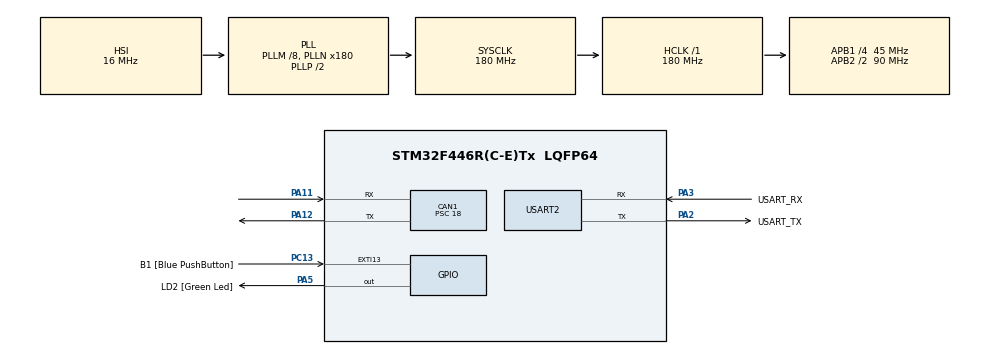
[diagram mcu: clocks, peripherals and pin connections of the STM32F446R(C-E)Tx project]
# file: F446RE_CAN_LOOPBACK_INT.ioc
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CAN1.BS1=CAN_BS1_2TQ
CAN1.BS2=CAN_BS2_2TQ
CAN1.CalculateBaudRate=500000
CAN1.CalculateTimeBit=2000
CAN1.CalculateTimeQuantum=400.0
CAN1.Mode=CAN_MODE_LOOPBACK
CAN1.Prescaler=18
Mcu.Family=STM32F4
Mcu.Name=STM32F446R(C-E)Tx
Mcu.Package=LQFP64
NVIC.CAN1_RX0_IRQn=true\:0\:0\:false\:false\:true\:true\:true\:true
NVIC.EXTI15_10_IRQn=true\:0\:0\:false\:false\:true\:true\:true\:true
NVIC.PriorityGroup=NVIC_PRIORITYGROUP_0
PA11.Mode=CAN_Activate
PA11.Signal=CAN1_RX
PA12.Mode=CAN_Activate
PA12.Signal=CAN1_TX
PA13.GPIO_Label=TMS
PA13.Mode=Serial_Wire
PA13.Signal=SYS_JTMS-SWDIO
PA14.GPIO_Label=TCK
PA14.Mode=Serial_Wire
PA14.Signal=SYS_JTCK-SWCLK
PA2.GPIO_Label=USART_TX
PA2.Mode=Asynchronous
PA2.Signal=USART2_TX
PA3.GPIO_Label=USART_RX
PA3.Mode=Asynchronous
PA3.Signal=USART2_RX
PA5.GPIO_Label=LD2 [Green Led]
PA5.Signal=GPIO_Output
PB3.GPIO_Label=SWO
PB3.Signal=SYS_JTDO-SWO
PC13.GPIO_Label=B1 [Blue PushButton]
PC13.GPIO_ModeDefaultEXTI=GPIO_MODE_IT_FALLING
PC13.Signal=GPXTI13
PC14-OSC32_IN.Mode=LSE-External-Oscillator
PC14-OSC32_IN.Signal=RCC_OSC32_IN
PC15-OSC32_OUT.Mode=LSE-External-Oscillator
PC15-OSC32_OUT.Signal=RCC_OSC32_OUT
PH0-OSC_IN.Mode=HSE-External-Oscillator
PH0-OSC_IN.Signal=RCC_OSC_IN
PH1-OSC_OUT.Mode=HSE-External-Oscillator
PH1-OSC_OUT.Signal=RCC_OSC_OUT
ProjectManager.HeapSize=0x200
ProjectManager.StackSize=0x400
ProjectManager.TargetToolchain=STM32CubeIDE
RCC.48MHZClocksFreq_Value=84000000
RCC.AHBFreq_Value=180000000
RCC.APB1CLKDivider=RCC_HCLK_DIV4
RCC.APB1Freq_Value=45000000
RCC.APB1TimFreq_Value=90000000
RCC.APB2CLKDivider=RCC_HCLK_DIV2
RCC.APB2Freq_Value=90000000
RCC.APB2TimFreq_Value=180000000
RCC.CortexFreq_Value=180000000
RCC.FLatency-AdvancedSettings=FLASH_LATENCY_5
RCC.HCLKFreq_Value=180000000
RCC.HSE_VALUE=8000000
RCC.HSI_VALUE=16000000
RCC.PLLM=8
RCC.PLLN=180
RCC.SYSCLKFreq_VALUE=180000000
RCC.SYSCLKSource=RCC_SYSCLKSOURCE_PLLCLK
RCC.USBFreq_Value=180000000
RCC.VCOOutputFreq_Value=360000000
USART2.VirtualMode=VM_ASYNC
board=NUCLEO-F446RE

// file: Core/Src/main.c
/* USER CODE BEGIN Header */
/**
  ******************************************************************************
  * @file           : main.c
  * @brief          : Main program body
  ******************************************************************************
  * @attention
  *
  * Copyright (c) 2024 STMicroelectronics.
  * All rights reserved.
  *
  * This software is licensed under terms that can be found in the LICENSE file
  * in the root directory of this software component.
  * If no LICENSE file comes with this software, it is provided AS-IS.
  *
  ******************************************************************************
  */
/* USER CODE END Header */
#include "main.h"

/* USER CODE BEGIN Includes */
#include <stdio.h>
#include <string.h>

/* USER CODE END Includes */

CAN_HandleTypeDef hcan1;

UART_HandleTypeDef huart2;

/* USER CODE BEGIN PV */
CAN_TxHeaderTypeDef TxHeader;
CAN_RxHeaderTypeDef RxHeader;

uint8_t TxData[8];
uint8_t RxData[8];

uint32_t TxMailbox;

/* USER CODE END PV */

void SystemClock_Config(void);
static void MX_GPIO_Init(void);
static void MX_USART2_UART_Init(void);
static void MX_CAN1_Init(void);

/* USER CODE BEGIN 0 */

void HAL_CAN_TxMailbox0CompleteCallback(CAN_HandleTypeDef *hcan)
{

}

void HAL_CAN_RxFifo0MsgPendingCallback(CAN_HandleTypeDef *hcan)
{

}

void HAL_CAN_TxMailbox0AbortCallback(CAN_HandleTypeDef *hcan)
{
  /* Prevent unused argument(s) compilation warning */
  UNUSED(hcan);

  /* NOTE : This function Should not be modified, when the callback is needed,
            the HAL_CAN_TxMailbox0AbortCallback could be implemented in the
            user file
   */
}
/* USER CODE END 0 */

int main(void)
{

  /* MCU Configuration--------------------------------------------------------*/

  /* Reset of all peripherals, Initializes the Flash interface and the Systick. */
  HAL_Init();

  /* Configure the system clock */
  SystemClock_Config();

  /* Initialize all configured peripherals */
  MX_GPIO_Init();
  MX_USART2_UART_Init();
  MX_CAN1_Init();
  /* USER CODE BEGIN 2 */
  HAL_CAN_Start(&hcan1);

  //HAL_CAN_ActivateNotification(&hcan1, CAN_IT_RX_FIFO0_MSG_PENDING);
  /* USER CODE END 2 */

  /* Infinite loop */
  /* USER CODE BEGIN WHILE */
  while (1)
  {
	  TxHeader.DLC = 2;
	  TxHeader.StdId = 0x123;
	  TxHeader.IDE = CAN_ID_STD;
	  TxHeader.RTR = CAN_RTR_DATA;

	  TxData[0] = 10;
	  TxData[1] = 100;

	  if(HAL_CAN_AddTxMessage(&hcan1, &TxHeader, TxData, &TxMailbox) != HAL_OK)
	  {
		  Error_Handler();
	  }
    /* USER CODE END WHILE */

  }
}

void SystemClock_Config(void)
{
  RCC_OscInitTypeDef RCC_OscInitStruct = {0};
  RCC_ClkInitTypeDef RCC_ClkInitStruct = {0};

  /** Configure the main internal regulator output voltage
  */
  __HAL_RCC_PWR_CLK_ENABLE();
  __HAL_PWR_VOLTAGESCALING_CONFIG(PWR_REGULATOR_VOLTAGE_SCALE1);

  /** Initializes the RCC Oscillators according to the specified parameters
  * in the RCC_OscInitTypeDef structure.
  */
  RCC_OscInitStruct.OscillatorType = RCC_OSCILLATORTYPE_HSI;
  RCC_OscInitStruct.HSIState = RCC_HSI_ON;
  RCC_OscInitStruct.HSICalibrationValue = RCC_HSICALIBRATION_DEFAULT;
  RCC_OscInitStruct.PLL.PLLState = RCC_PLL_ON;
  RCC_OscInitStruct.PLL.PLLSource = RCC_PLLSOURCE_HSI;
  RCC_OscInitStruct.PLL.PLLM = 8;
  RCC_OscInitStruct.PLL.PLLN = 180;
  RCC_OscInitStruct.PLL.PLLP = RCC_PLLP_DIV2;
  RCC_OscInitStruct.PLL.PLLQ = 2;
  RCC_OscInitStruct.PLL.PLLR = 2;
  if (HAL_RCC_OscConfig(&RCC_OscInitStruct) != HAL_OK)
  {
    Error_Handler();
  }

  /** Activate the Over-Drive mode
  */
  if (HAL_PWREx_EnableOverDrive() != HAL_OK)
  {
    Error_Handler();
  }

  /** Initializes the CPU, AHB and APB buses clocks
  */
  RCC_ClkInitStruct.ClockType = RCC_CLOCKTYPE_HCLK|RCC_CLOCKTYPE_SYSCLK
                              |RCC_CLOCKTYPE_PCLK1|RCC_CLOCKTYPE_PCLK2;
  RCC_ClkInitStruct.SYSCLKSource = RCC_SYSCLKSOURCE_PLLCLK;
  RCC_ClkInitStruct.AHBCLKDivider = RCC_SYSCLK_DIV1;
  RCC_ClkInitStruct.APB1CLKDivider = RCC_HCLK_DIV4;
  RCC_ClkInitStruct.APB2CLKDivider = RCC_HCLK_DIV2;

  if (HAL_RCC_ClockConfig(&RCC_ClkInitStruct, FLASH_LATENCY_5) != HAL_OK)
  {
    Error_Handler();
  }
}

static void MX_CAN1_Init(void)
{

  hcan1.Instance = CAN1;
  hcan1.Init.Prescaler = 18;
  hcan1.Init.Mode = CAN_MODE_LOOPBACK;
  hcan1.Init.SyncJumpWidth = CAN_SJW_1TQ;
  hcan1.Init.TimeSeg1 = CAN_BS1_2TQ;
  hcan1.Init.TimeSeg2 = CAN_BS2_2TQ;
  hcan1.Init.TimeTriggeredMode = DISABLE;
  hcan1.Init.AutoBusOff = DISABLE;
  hcan1.Init.AutoWakeUp = DISABLE;
  hcan1.Init.AutoRetransmission = DISABLE;
  hcan1.Init.ReceiveFifoLocked = DISABLE;
  hcan1.Init.TransmitFifoPriority = DISABLE;
  if (HAL_CAN_Init(&hcan1) != HAL_OK)
  {
    Error_Handler();
  }
  /* USER CODE BEGIN CAN1_Init 2 */
  CAN_FilterTypeDef sfilterConfig = {0};

  sfilterConfig.FilterActivation = CAN_FILTER_ENABLE;
  sfilterConfig.FilterBank = 18;
  sfilterConfig.FilterFIFOAssignment = CAN_RX_FIFO0;
  sfilterConfig.FilterIdHigh = 0x000;
  sfilterConfig.FilterIdLow = 0x000;
  sfilterConfig.FilterMaskIdHigh = 0x000;
  sfilterConfig.FilterMaskIdLow = 0x000;
  sfilterConfig.FilterMode = CAN_FILTERMODE_IDMASK;
  sfilterConfig.FilterScale  = CAN_FILTERSCALE_32BIT;
  sfilterConfig.SlaveStartFilterBank = 10;

  if(HAL_CAN_ConfigFilter(&hcan1, &sfilterConfig) != HAL_OK)
  {
	  Error_Handler();
  }

  /* USER CODE END CAN1_Init 2 */

}

static void MX_USART2_UART_Init(void)
{

  huart2.Instance = USART2;
  huart2.Init.BaudRate = 115200;
  huart2.Init.WordLength = UART_WORDLENGTH_8B;
  huart2.Init.StopBits = UART_STOPBITS_1;
  huart2.Init.Parity = UART_PARITY_NONE;
  huart2.Init.Mode = UART_MODE_TX_RX;
  huart2.Init.HwFlowCtl = UART_HWCONTROL_NONE;
  huart2.Init.OverSampling = UART_OVERSAMPLING_16;
  if (HAL_UART_Init(&huart2) != HAL_OK)
  {
    Error_Handler();
  }

}

static void MX_GPIO_Init(void)
{
  GPIO_InitTypeDef GPIO_InitStruct = {0};

  /* GPIO Ports Clock Enable */
  __HAL_RCC_GPIOC_CLK_ENABLE();
  __HAL_RCC_GPIOH_CLK_ENABLE();
  __HAL_RCC_GPIOA_CLK_ENABLE();
  __HAL_RCC_GPIOB_CLK_ENABLE();

  /*Configure GPIO pin Output Level */
  HAL_GPIO_WritePin(LD2_GPIO_Port, LD2_Pin, GPIO_PIN_RESET);

  /*Configure GPIO pin : B1_Pin */
  GPIO_InitStruct.Pin = B1_Pin;
  GPIO_InitStruct.Mode = GPIO_MODE_IT_FALLING;
  GPIO_InitStruct.Pull = GPIO_NOPULL;
  HAL_GPIO_Init(B1_GPIO_Port, &GPIO_InitStruct);

  /*Configure GPIO pin : LD2_Pin */
  GPIO_InitStruct.Pin = LD2_Pin;
  GPIO_InitStruct.Mode = GPIO_MODE_OUTPUT_PP;
  GPIO_InitStruct.Pull = GPIO_NOPULL;
  GPIO_InitStruct.Speed = GPIO_SPEED_FREQ_LOW;
  HAL_GPIO_Init(LD2_GPIO_Port, &GPIO_InitStruct);

  /* EXTI interrupt init*/
  HAL_NVIC_SetPriority(EXTI15_10_IRQn, 0, 0);
  HAL_NVIC_EnableIRQ(EXTI15_10_IRQn);

}

void Error_Handler(void)
{
  __disable_irq();
  while (1)
  {
  }
}
